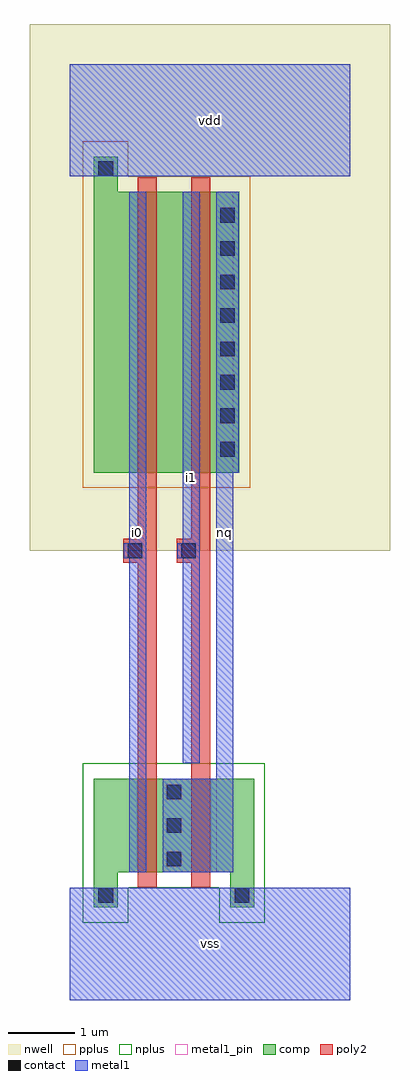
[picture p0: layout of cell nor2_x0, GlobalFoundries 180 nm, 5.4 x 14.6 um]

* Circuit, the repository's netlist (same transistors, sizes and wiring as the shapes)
* nor2_x0
.subckt nor2_x0 vdd vss nq i0 i1
Mn0 vss i0 nq vss nfet_03v3 l=0.28um w=1.4um
Mp0 vdd i0 int0 vdd pfet_03v3 l=0.28um w=4.2um
Mn1 nq i1 vss vss nfet_03v3 l=0.28um w=1.4um
Mp1 int0 i1 nq vdd pfet_03v3 l=0.28um w=4.2um
.ends nor2_x0

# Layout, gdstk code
import gdstk
lib = gdstk.Library(unit=1e-6, precision=1e-09)
def R(c, l, rs):  # rectangles x0, y0, x1, y1
    for r in rs: c.add(gdstk.rectangle(r[:2], r[2:], *l))
def A(c, l, x, y, w, h, nx, ny, dx, dy):  # array of equal rectangles
    R(c, l, [(x+i*dx, y+j*dy, x+i*dx+w, y+j*dy+h) for i in range(nx) for j in range(ny)])
def P(c, l, *ps):  # polygons
    for p in ps: c.add(gdstk.Polygon(p, *l))
nwell = (21, 0)
comp = (22, 0)
poly2 = (30, 0)
pplus = (31, 0)
nplus = (32, 0)
contact = (33, 0)
metal1 = (34, 0)
metal1_pin = (34, 10)

nor2_x0 = lib.new_cell('nor2_x0')
R(nor2_x0, nwell, [(-0.6,6.72,4.8,14.6)])
P(nor2_x0, comp, [(0.36,1.385),(0.36,3.31),(2.76,3.31),(2.76,1.385),(2.4,1.385),(2.4,1.91),(0.72,1.91),(0.72,1.385)],
  [(0.36,7.89),(0.36,12.615),(0.72,12.615),(0.72,12.09),(2.54,12.09),(2.54,7.89)])
P(nor2_x0, poly2, [(1.02,1.69),(1.02,6.54),(0.8,6.54),(0.8,6.9),(1.02,6.9),(1.02,12.31),(1.3,12.31),(1.3,1.69)],
  [(1.82,1.69),(1.82,6.54),(1.6,6.54),(1.6,6.9),(1.82,6.9),(1.82,12.31),(2.1,12.31),(2.1,1.69)])
P(nor2_x0, pplus, [(0.2,7.66),(0.2,12.845),(0.88,12.845),(0.88,12.32),(2.7,12.32),(2.7,7.66)])
P(nor2_x0, nplus, [(0.2,1.155),(0.2,3.54),(2.92,3.54),(2.92,1.155),(2.24,1.155),(2.24,1.68),(0.88,1.68),(0.88,1.155)])
A(nor2_x0, contact, 1.45, 2, 0.22, 0.22, 1, 3, 0, 0.5)
A(nor2_x0, contact, 2.25, 8.13, 0.22, 0.22, 1, 8, 0, 0.5)
R(nor2_x0, contact, [(0.43,1.455,0.65,1.675), (2.47,1.455,2.69,1.675), (0.87,6.61,1.09,6.83), (1.67,6.61,1.89,6.83), (0.43,12.325,0.65,12.545)])
R(nor2_x0, metal1, [(0,0,4.2,1.68), (0,12.32,4.2,14)])
P(nor2_x0, metal1, [(1.39,1.91),(1.39,3.31),(2.19,3.31),(2.19,12.09),(2.53,12.09),(2.53,7.89),(2.45,7.89),(2.45,1.91)],
  [(0.89,1.91),(0.89,6.605),(0.81,6.605),(0.81,6.835),(0.89,6.835),(0.89,12.09),(1.15,12.09),(1.15,1.91)],
  [(1.69,3.54),(1.69,6.605),(1.61,6.605),(1.61,6.835),(1.69,6.835),(1.69,12.09),(1.95,12.09),(1.95,3.54)])
R(nor2_x0, metal1_pin, [(0,0,4.2,1.68), (0.89,1.91,1.15,12.09), (2.19,1.91,2.45,12.09), (1.69,3.54,1.95,12.09), (0,12.32,4.2,14)])
nor2_x0.add(gdstk.Label('vss', (2.1,0.84), layer=34, texttype=10))
nor2_x0.add(gdstk.Label('vdd', (2.1,13.16), layer=34, texttype=10))
nor2_x0.add(gdstk.Label('nq', (2.32,7), layer=34, texttype=10))
nor2_x0.add(gdstk.Label('i0', (1.02,7), layer=34, texttype=10))
nor2_x0.add(gdstk.Label('i1', (1.82,7.815), layer=34, texttype=10))

lib.write_gds('nor2_x0.gds')
